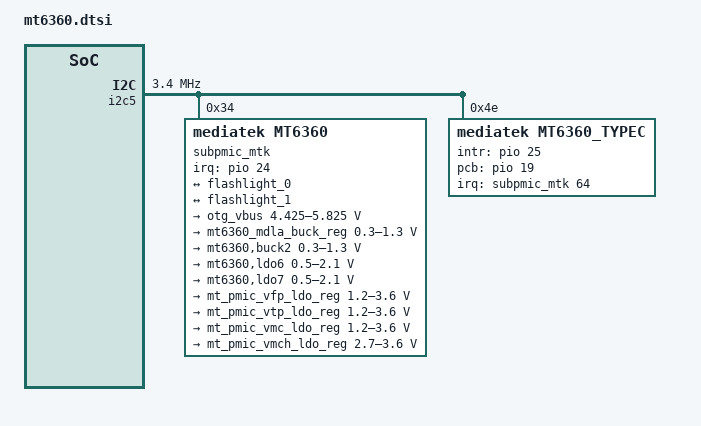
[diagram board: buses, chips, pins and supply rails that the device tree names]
// SPDX-License-Identifier: GPL-2.0
/*
 * Copyright (c) 2021 MediaTek Inc.
*/

&i2c5 {
status = "okay";
	clock-frequency = <3400000>;
	#address-cells = <1>;
	#size-cells = <0>;

    subpmic_mtk: mt6360@34 {
		#interrupt-cells = <2>;
		status = "ok";
		compatible = "mediatek,mt6360";
		reg = <0x34>;
		wakeup-source;
		interrupt-controller;
		interrupt-parent = <&pio>;
		interrupts = <24 IRQ_TYPE_LEVEL_LOW>;
		interrupt-names = "IRQB";
		mt6360_chg: chg {
			compatible ="mediatek,mt6360-chg";
			vinovp = <14500000>;
			io-channels = <&mt6360_adc 0>, <&mt6360_adc 1>,
				      <&mt6360_adc 3>, <&mt6360_adc 4>,
				      <&mt6360_adc 5>, <&mt6360_adc 6>,
				      <&mt6360_adc 8>, <&mt6360_adc 10>;
			io-channel-names = "USBID", "VBUSDIV5", "VSYS", "VBAT",
					   "IBUS", "IBAT", "TEMP_JC", "TS";
			chg_name = "primary_chg";
			ichg = <2000000>;		/* uA */
			aicr = <500000>;		/* uA */
			mivr = <4400000>;		/* uV */
			cv = <4350000>;			/* uA */
			ieoc = <150000>;		/* uA */
			safety_timer = <12>;		/* hour */
			ircmp_resistor = <25000>;	/* uohm */
			ircmp_vclamp = <32000>;		/* uV */
			en_te = <1>;
			en_wdt = <1>;
			aicc_once = <1>;
			post_aicc = <1>;
			batoc_notify = <0>;
			charger = <&mt6360_chg>;
			phys = <&u2port0 PHY_TYPE_USB2>;
			phy-names = "usb2-phy";
			usb = <&ssusb>;
			bc12_ref = <&mtk_ctd>;
			otg_vbus: usb-otg-vbus {
				regulator-compatible = "usb-otg-vbus";
				regulator-name = "usb-otg-vbus";
				regulator-min-microvolt = <4425000>;
				regulator-max-microvolt = <5825000>;
				regulator-min-microamp = <500000>;
				regulator-max-microamp = <3000000>;
			};
		};
		mt6360_adc: adc {
			compatible = "mediatek,mt6360-adc";
			#io-channel-cells = <1>;
		};
		mt6360_led: led {
			compatible = "mediatek,mt6360-led";
			rgbon_sync = <1>;
			iled  {
				#address-cells = <1>;
				#size-cells = <0>;
				led@0 {
					reg = <0>;
					label = "isink1";
				};
				led@1 {
					reg = <1>;
					label = "isink2";
				};
				led@2 {
					reg = <2>;
					label = "isink3";
				};
				led@3 {
					reg = <3>;
					label = "isink4";
				};
			};
			fled {
				#address-cells = <1>;
				#size-cells = <0>;
				flash@0 {
					reg = <0>;
					label = "mt6360_flash_ch1";
					led-max-microamp = <400000>;
					flash-max-microamp = <1500000>;
					flash-max-timeout = <1248000>;
					type = <0>;
					ct = <0>;
					part = <0>;
					port@0 {
						fl_core_0: endpoint {
							remote-endpoint = <&flashlight_0>;
						};
					};
				};
				flash@1 {
					reg = <1>;
					label = "mt6360_flash_ch2";
					led-max-microamp = <400000>;
					flash-max-microamp = <1500000>;
					flash-max-timeout = <1248000>;
					type = <0>;
					ct = <1>;
					part = <0>;
					port@1 {
						fl_core_1: endpoint {
							remote-endpoint = <&flashlight_1>;
						};
					};
				};
			};
		};
		mt6360_pmic: regulator {
			compatible = "mt6360-regulator";
			mt6360_mdla_buck_reg: buck1 {
				regulator-compatible = "BUCK1";
				regulator-name = "mt6360,buck1";
				regulator-min-microvolt = <300000>;
				regulator-max-microvolt = <1300000>;
				regulator-allowed-modes = <0 2 3>;
				regulator-always-on;
			};
			buck2 {
				regulator-compatible = "BUCK2";
				regulator-name = "mt6360,buck2";
				regulator-min-microvolt = <300000>;
				regulator-max-microvolt = <1300000>;
				regulator-allowed-modes = <0 2 3>;
				regulator-always-on;
			};
			ldo6 {
				regulator-compatible = "LDO6";
				regulator-name = "mt6360,ldo6";
				regulator-min-microvolt = <500000>;
				regulator-max-microvolt = <2100000>;
				regulator-allowed-modes = <0 2>;
				regulator-always-on;
			};
			ldo7 {
				regulator-compatible = "LDO7";
				regulator-name = "mt6360,ldo7";
				regulator-min-microvolt = <500000>;
				regulator-max-microvolt = <2100000>;
				regulator-allowed-modes = <0 2>;
				regulator-always-on;
			};
			mt_pmic_vfp_ldo_reg: ldo1 {
				regulator-compatible = "LDO1";
				regulator-name = "mt6360,ldo1";
				regulator-min-microvolt = <1200000>;
				regulator-max-microvolt = <3600000>;
				regulator-allowed-modes = <0 2>;
			};
			mt_pmic_vtp_ldo_reg: ldo2 {
				regulator-compatible = "LDO2";
				regulator-name = "vtp";
				regulator-min-microvolt = <1200000>;
				regulator-max-microvolt = <3600000>;
				regulator-allowed-modes = <0 2>;
			};
			mt_pmic_vmc_ldo_reg: ldo3 {
				regulator-compatible = "LDO3";
				regulator-name = "mt6360,ldo3";
				regulator-min-microvolt = <1200000>;
				regulator-max-microvolt = <3600000>;
				regulator-allowed-modes = <0 2>;
			};
			mt_pmic_vmch_ldo_reg: ldo5 {
				regulator-compatible = "LDO5";
				regulator-name = "mt6360,ldo5";
				regulator-min-microvolt = <2700000>;
				regulator-max-microvolt = <3600000>;
				regulator-allowed-modes = <0 2>;
			};
		};
	};
	mt6360_typec: tcpc@4e {
		compatible = "mediatek,mt6360_typec";
		reg = <0x4e>;
		mt-tcpc,name = "type_c_port0"; /* tcpc_device's name */
		/* 0: Unknown, 1: SNK, 2: SRC, 3: DRP, 4: Try.SRC, 5: Try.SNK */
		mt-tcpc,role-def = <5>;
		mt-tcpc,rp-level = <1>; /* 0: Default, 1: 1.5, 2: 3.0 */
		/* 0: Never, 1: Always, 2: EMarkOnly, 3: StartOnly */
		mt-tcpc,vconn-supply = <1>;
		mt6360pd,intr-gpio = <&pio 25 0x0>;
		mt6360pd,intr-gpio-num = <25>;
		mt6360pd,pcb-gpio = <&pio 19 0x0>;
		mt6360pd,pcb-gpio-num = <19>;
		interrupt-parent = <&subpmic_mtk>;
		interrupts = <64 0>;
		interrupt-names = "usbid_evt";
		charger = <&mt6360_chg>;
		pd-data {
			pd,vid = <0x29cf>;
			pd,pid = <0x6360>;
			pd,source-cap-ext = /bits/ 8 <0xcf 0x29 0x60 0x63
						      0x00 0x00 0x00 0x00
						      0x00 0x00 0x00 0x00
						      0x00 0x00 0x00 0x00
						      0x00 0x00 0x00 0x00
						      0x00 0x00 0x01 0x07
						      0x00>;
			pd,sink-cap-ext = /bits/ 8 <0xcf 0x29 0x60 0x63
						    0x00 0x00 0x00 0x00
						    0x00 0x00 0x01 0x00
						    0x00 0x00 0x00 0x00
						    0x01 0x0b 0x01 0x0a
						    0x0a 0x00 0x00 0x00>;
			pd,mfrs = "RichtekTCPC";

			/*
			 *	VSAFE5V = 0, MAX_POWER = 1, CUSTOM = 2,
			 *	MAX_POWER_LV = 0x21, MAX_POWER_LVIC = 0x31
			 *	MAX_POWER_HV = 0x41, MAX_POWER_HVIC = 0x51
			 */
			pd,charging-policy = <0x31>;

			pd,source-pdo-size = <1>;
			pd,source-pdo-data = <0x00019032>; /* 5V, 500 mA */
			pd,sink-pdo-size = <1>;
			pd,sink-pdo-data = <0x000190c8>;

			/*
			 * No DP, host + device
			 *	pd,id-vdo-size = <6>;
			 *	pd,id-vdo-data = <0xd14029cf 0x0 0x63600000
						  0x61000000 0x0 0x41000000>;
			 * With DP Sink capability
			 *	pd,id-vdo-size = <6>;
			 *	pd,id-vdo-data = <0xd54029cf 0x0 0x63600000
						  0x61000000 0x0 0x41000000>;
			 */

			pd,id-vdo-size = <6>;
			pd,id-vdo-data = <0xd14029cf 0x0 0x63600000
					  0x61000000 0x0 0x41000000>;

			bat,nr = <1>;
			bat-info0 {
				bat,vid = <0x29cf>;
				bat,pid = <0x6360>;
				bat,mfrs = "bat1";
				bat,design-cap = <3000>;
			};
		};
		dpm-caps {
			local-dr-power;
			local-dr-data;
			// local-ext-power;
			local-usb-comm;
			// local-usb-suspend;
			// local-high-cap;
			// local-give-back;
			local-no-suspend;

			/* With DP Source capability */
			// attempt-enter-dp-mode;
			// attempt-discover-cable;
			// attempt-discover-id;
			// attempt-discover-svids;

			/* 0: disable, 1: prefer-snk, 2: prefer-src */
			pr-check = <0>;
			// pr-reject-as-source;
			// pr-reject-as-sink;
			// pr-check-gp-source;
			// pr-check-gp-sink;

			/* 0: disable, 1: prefer-ufp, 2: prefer-dfp */
			dr-check = <0>;
			// dr-reject-as-dfp;
			// dr-reject-as-ufp;
		};
		displayport {
			/* connection type = "both", "ufp-d", "dfp-d" */
			1st-connection = "dfp-d";
			2nd-connection = "dfp-d";
			// usbr20-not-used;
			typec,receptacle;
			ufp-d {
				// pin-assignment,mode-c;
				// pin-assignment,mode-d;
				// pin-assignment,mode-e;
			};
			dfp-d {
				pin-assignment,mode-c;
				pin-assignment,mode-d;
				pin-assignment,mode-e;
			};
		};
	};
};
&mtk_composite_v4l2_1 {
	port@0 {
		flashlight_0: endpoint {
			remote-endpoint = <&fl_core_0>;
		};
	};
	port@1 {
		flashlight_1: endpoint {
			remote-endpoint = <&fl_core_1>;
		};
	};
};
